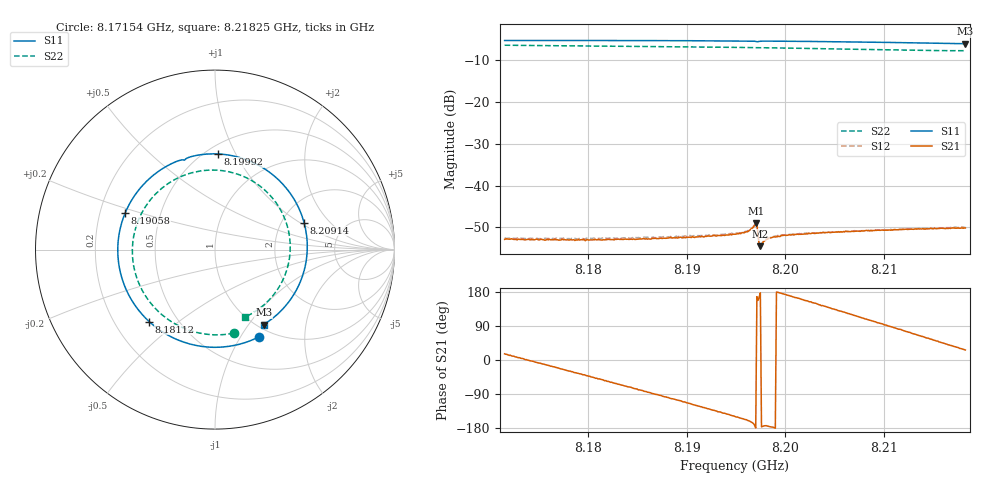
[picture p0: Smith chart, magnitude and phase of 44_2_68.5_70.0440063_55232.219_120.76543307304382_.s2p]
#  HZ  S  RI  R  50.00
! Rohde & Schwarz Vector Network Analyzer
! Rohde-Schwarz,ZNB20-2Port,1311601062101988,3.16
! Created: UTC 3/20/2024, 5:05:42 PM
! freq[Hz]  re:S11  im:S11  re:S21  im:S21  re:S12  im:S12  re:S22  im:S22
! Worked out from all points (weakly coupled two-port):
!   401 points, 8.17154 GHz to 8.21825 GHz, reference 50 ohm
!   highest |S21| = -49.05 dB at 8.197 GHz (marker M1); lowest = -54.5 dB at 8.19747 GHz (marker M2)
!   lowest |S11| = -6.1 dB at 8.21825 GHz (marker M3), VSWR 2.98, Z = 53.3 - j59.1 ohm
!   |S11| at or under -10 dB: nowhere
!   |S22| runs from -7.7 to -6.4 dB; largest |S21 - S12| = 0.00017
!   S11 on the Smith chart (normalised r, x): 8.17154 GHz: 0.87, -1.21; 8.18112 GHz: 0.35, -0.40; 8.19058 GHz: 0.31, +0.18; 8.19992 GHz: 0.57, +0.85; 8.20914 GHz: 2.65, +1.09; 8.21825 GHz: 1.07, -1.18
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8.171544e9  0.2459 -0.4856  0.00219 0.000639  0.00226 0.000689  0.1053 -0.4657
8.175514e9  -0.016 -0.5441  0.00221 -0.000431  0.00227 -0.000468  -0.1198 -0.4568
8.179367e9  -0.2686 -0.4729  0.00179 -0.00138  0.00182 -0.00143  -0.3084 -0.3515
8.181119e9  -0.3661 -0.4015  0.00146 -0.00173  0.00149 -0.00181  -0.3737 -0.2782
8.184272e9  -0.4937 -0.2256  0.000718 -0.00217  0.000678 -0.00223  -0.447 -0.1194
8.187191e9  -0.541 -0.0289  -0.00011 -0.00233  -0.000136 -0.00243  -0.4579 0.0418
8.190577e9  -0.5012 0.2026  -0.00112 -0.00218  -0.00118 -0.00219  -0.3995 0.2196
8.192679e9  -0.427 0.3297  -0.00171 -0.00186  -0.00179 -0.00186  -0.3284 0.3123
8.194898e9  -0.314 0.4366  -0.00225 -0.00135  -0.00236 -0.00129  -0.23 0.3869
8.196065e9  -0.2426 0.4788  -0.0026 -0.00107  -0.00267 -0.00095  -0.1706 0.4147
8.196883e9  -0.1858 0.4997  -0.00333 -0.000461  -0.0034 -0.00034  -0.1266 0.4286
8.196999e9  -0.177 0.5  -0.00353 -3.93e-05  -0.0036 7.7e-05  -0.1201 0.4301
8.197467e9  -0.156 0.5097  -0.00189 8.94e-05  -0.0019 0.000162  -0.0946 0.4359
8.197583e9  -0.1476 0.5132  -0.00196 -0.000128  -0.002 -4.08e-05  -0.0881 0.437
8.198517e9  -0.0812 0.5284  -0.00237 -0.000147  -0.00242 -5.09e-05  -0.0354 0.4427
8.199919e9  0.0183 0.5327  -0.00254 0.000293  -0.00254 0.000396  0.0441 0.4394
8.202721e9  0.2095 0.4863  -0.00238 0.00129  -0.00234 0.00137  0.1955 0.3896
8.206224e9  0.4033 0.3346  -0.00158 0.00235  -0.00151 0.0024  0.3453 0.2536
8.209143e9  0.4963 0.1503  -0.000547 0.00287  -0.000429 0.00293  0.4115 0.0942
8.210545e9  0.5129 0.0517  4.58e-05 0.00295  0.000144 0.00295  0.4192 0.01
8.214165e9  0.4657 -0.2011  0.00153 0.0026  0.00161 0.00264  0.36 -0.2034
8.218251e9  0.271 -0.4173  0.00279 0.00138  0.00289 0.00133  0.1679 -0.375
